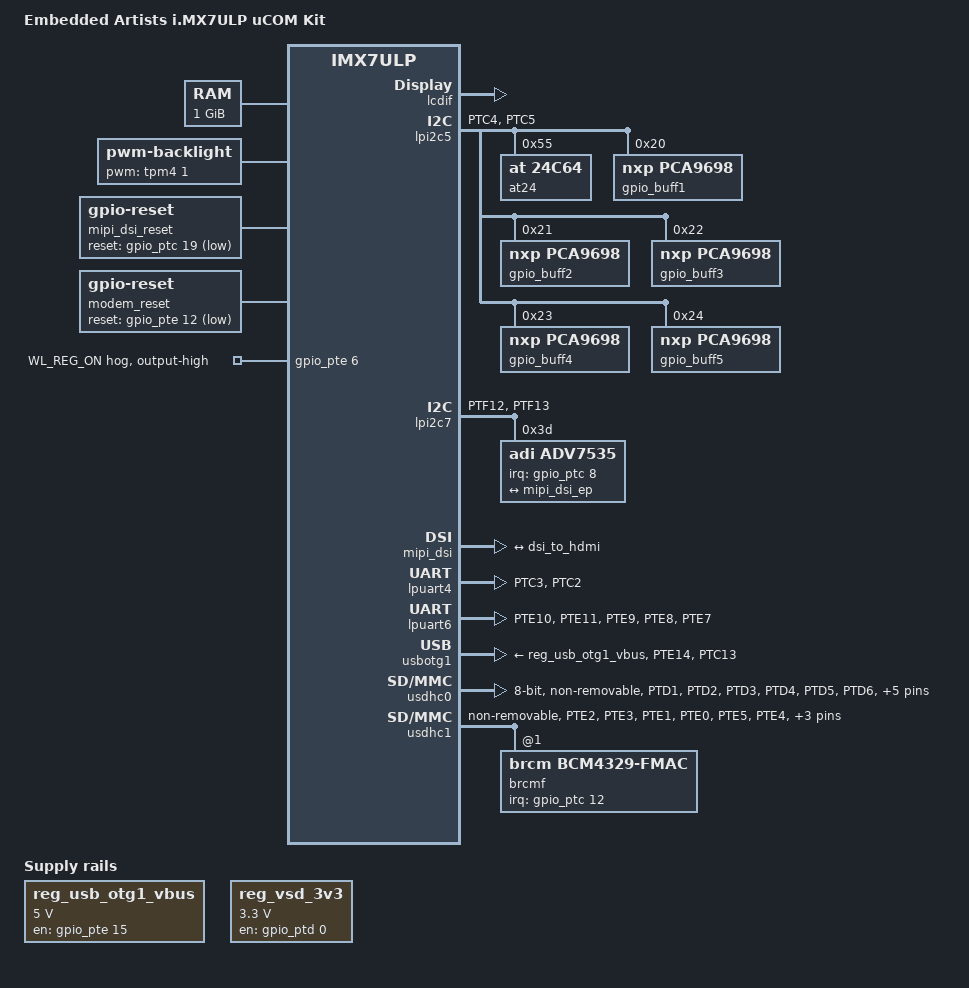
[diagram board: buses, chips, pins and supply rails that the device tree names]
/*
 * Copyright 2016 Freescale Semiconductor, Inc.
 * Copyright 2017-2018 NXP.
 *
 * This program is free software; you can redistribute it and/or modify
 * it under the terms of the GNU General Public License version 2 as
 * published by the Free Software Foundation.
 */

/dts-v1/;

#include "imx7ulp.dtsi"
#include <dt-bindings/input/input.h>

/ {
	model = "Embedded Artists i.MX7ULP uCOM Kit";
	compatible = "fsl,imx7ulpea-ucom", "fsl,imx7ulp", "Generic DT based system";

	aliases {
		/*gpio4 = &rpmsg_gpio0;
		gpio5 = &rpmsg_gpio1;
		pca6416_gpio = &rpmsg_gpio2;*/
	};

	chosen {
		stdout-path = &lpuart4;
	};

	memory {
		device_type = "memory";
		reg = <0x60000000 0x40000000>;
	};

	backlight {
		compatible = "pwm-backlight";
		pwms = <&tpm4 1 50000 0>;
		brightness-levels = <0 20 25 30 35 40 100>;
		default-brightness-level = <6>;
		status = "okay";
	};

	mipi_dsi_reset: mipi-dsi-reset {
		compatible = "gpio-reset";
		reset-gpios = <&gpio_ptc 19 GPIO_ACTIVE_LOW>;
		reset-delay-us = <1000>;
		#reset-cells = <0>;
	};

	modem_reset: modem-reset {
		compatible = "gpio-reset";
		reset-gpios = <&gpio_pte 12 GPIO_ACTIVE_LOW>;
		reset-delay-us = <1000>;
		#reset-cells = <0>;
	};

	regulators {
		compatible = "simple-bus";
		#address-cells = <1>;
		#size-cells = <0>;

		reg_usb_otg1_vbus: regulator@0 {
			compatible = "regulator-fixed";
			reg = <0>;
			pinctrl-names = "default", "sleep";
			pinctrl-0 = <&pinctrl_usbotg1_vbus>;
			pinctrl-1 = <&pinctrl_usbotg1_vbus>;
			regulator-name = "usb_otg1_vbus";
			regulator-min-microvolt = <5000000>;
			regulator-max-microvolt = <5000000>;
			gpio = <&gpio_pte 15 GPIO_ACTIVE_HIGH>;
			enable-active-high;
		};

		reg_vsd_3v3: regulator@1 {
			compatible = "regulator-fixed";
			reg = <1>;
			regulator-name = "VSD_3V3";
			regulator-min-microvolt = <3300000>;
			regulator-max-microvolt = <3300000>;
			gpio = <&gpio_ptd 0 GPIO_ACTIVE_HIGH>;
			off-on-delay = <20000>;
			enable-active-high;
		};

	};
};

&cpu0 {
	fsl,ldo-enabled-mode;
};

&iomuxc1 {
	pinctrl-names = "default";
	pinctrl-0 = <&pinctrl_hog_1>, <&pinctrl_test>;

	imx7ulpea-ucom {
		pinctrl_hog_1: hoggrp-1 {
			fsl,pins = <
                                IMX7ULP_PAD_PTE6__PTE6          0xC6     /* WL_REG_ON */
			>;
		};

		pinctrl_test: testgrp {
			fsl,pins = <
				/* From: new pins */
				IMX7ULP_PAD_PTC0__PTC0			0xC6
				IMX7ULP_PAD_PTC6__PTC6			0xC6
				IMX7ULP_PAD_PTC7__PTC7			0xC6
				IMX7ULP_PAD_PTC11__PTC11		0xC6
				IMX7ULP_PAD_PTC14__PTC14		0xC6
				IMX7ULP_PAD_PTC15__PTC15		0xC6
				IMX7ULP_PAD_PTC16__PTC16		0xC6
				IMX7ULP_PAD_PTC17__PTC17		0xC6
				IMX7ULP_PAD_PTC18__PTC18		0xC6

				IMX7ULP_PAD_PTF0__PTF0			0xC6
				IMX7ULP_PAD_PTF1__PTF1			0xC6
				IMX7ULP_PAD_PTF2__PTF2			0xC6
				IMX7ULP_PAD_PTF3__PTF3			0xC6
				IMX7ULP_PAD_PTF4__PTF4			0xC6
				IMX7ULP_PAD_PTF5__PTF5			0xC6
				IMX7ULP_PAD_PTF6__PTF6			0xC6
				IMX7ULP_PAD_PTF7__PTF7			0xC6
				IMX7ULP_PAD_PTF8__PTF8			0xC6
				IMX7ULP_PAD_PTF9__PTF9			0xC6
				IMX7ULP_PAD_PTF10__PTF10		0xC6
				IMX7ULP_PAD_PTF11__PTF11		0xC6
				IMX7ULP_PAD_PTF14__PTF14		0xC6
				IMX7ULP_PAD_PTF15__PTF15		0xC6
				IMX7ULP_PAD_PTF16__PTF16		0xC6
				IMX7ULP_PAD_PTF17__PTF17		0xC6
				IMX7ULP_PAD_PTF18__PTF18		0xC6
				IMX7ULP_PAD_PTF19__PTF19		0xC6

				/* From: pinctrl_hog_1: hoggrp-1 */
				IMX7ULP_PAD_PTC1__PTC1			0xC6

				/* From: pinctrl_usdhc0: usdhc0grp {
				/*IMX7ULP_PAD_PTC10__PTC10		0xC6	/ * USDHC0 CD */
				/*IMX7ULP_PAD_PTC10__LPSPI2_SCK		0xC6*/

				/* From: pinctrl_exp_conn: expconngrp */
                                                                                /* GPIO_H Not Connected */
                                                                                /* GPIO_J Not Connected */
                                /*IMX7ULP_PAD_PTC8__PTC8                  0xC6       GPIO_K ADV7535 INT (on adapter board) */
				/*IMX7ULP_PAD_PTA24__PTA24		0xC6*/	/* GPIO_P */
                                                                                /* GPIO_Q Not Connected */
                                                                                /* GPIO_R Not Connected */
                                                                                /* GPIO_S Not Connected */
                                                                                /* GPIO_T Not Connected */
                                                                                /* GPIO_U Not Connected */
                                                                                /* GPIO_V Not Connected */
                                                                                /* GPIO_W Not Connected */
                                                                                /* GPIO_X Not Connected */
                                                                                /* GPIO_Y Not Connected */
                                                                                /* GPIO_Z Not Connected */
                                                                                /* GPIO_AA Not Connected */
                                                                                /* GPIO_AB Not Connected */
                                                                                /* GPIO_AC Not Connected */
                                                                                /* GPIO_AD Not Connected */
                                                                                /* GPIO_AE Not Connected */
                                                                                /* GPIO_AF Not Connected */
                                                                                /* GPIO_AG Not Connected */
                                                                                /* GPIO_AH Not Connected */
				                                                /* GPIO_AJ Not Connected */
				/*IMX7ULP_PAD_PTE12__PTE12			0xC6	 GPIO_AK BT_DEV_WAKE */
				/*IMX7ULP_PAD_PTE13__PTE13			0xC6	 GPIO_AL BT_REG_ON */
                                                                                /* GPIO_AP Not Connected */
                                                                                /* GPIO_AQ Not Connected */
                                                                                /* GPIO_AR Not Connected */
                                                                                /* GPIO_AS Not Connected */
                                                                                /* GPIO_AT Not Connected */
                                                                                /* GPIO_AU Not Connected */
                                                                                /* GPIO_AV Not Connected */
			>;
		};

		pinctrl_lpi2c5: lpi2c5grp {
			fsl,pins = <
				IMX7ULP_PAD_PTC4__LPI2C5_SCL	0x27
				IMX7ULP_PAD_PTC5__LPI2C5_SDA	0x27
			>;
		};

		pinctrl_lpi2c7: lpi2c7grp {
			fsl,pins = <
				IMX7ULP_PAD_PTF12__LPI2C7_SCL	0x27
				IMX7ULP_PAD_PTF13__LPI2C7_SDA	0x27
			>;
		};

		pinctrl_mipi_dsi_reset: mipi_dsi_reset_grp {
			fsl,pins = <
				IMX7ULP_PAD_PTC19__PTC19	0x20003
			>;
		};

		pinctrl_lpuart4: lpuart4grp {
			fsl,pins = <
				IMX7ULP_PAD_PTC3__LPUART4_RX	0x3
				IMX7ULP_PAD_PTC2__LPUART4_TX	0x3
			>;
		};

		pinctrl_lpuart6: lpuart6grp {
			fsl,pins = <
				IMX7ULP_PAD_PTE10__LPUART6_TX	0x3
				IMX7ULP_PAD_PTE11__LPUART6_RX	0x3
				IMX7ULP_PAD_PTE9__LPUART6_RTS_B	0x3
				IMX7ULP_PAD_PTE8__LPUART6_CTS_B	0x3
				IMX7ULP_PAD_PTE7__PTE7		0x20000	/* BT_HOST_WAKE */
			>;
		};

		pinctrl_usdhc0: usdhc0grp {
			fsl,pins = <
				IMX7ULP_PAD_PTD1__SDHC0_CMD	0x43
				IMX7ULP_PAD_PTD2__SDHC0_CLK	0x10042
				IMX7ULP_PAD_PTD7__SDHC0_D3	0x43
				IMX7ULP_PAD_PTD8__SDHC0_D2	0x43
				IMX7ULP_PAD_PTD9__SDHC0_D1	0x43
				IMX7ULP_PAD_PTD10__SDHC0_D0	0x43
				IMX7ULP_PAD_PTD0__PTD0		0x20000	/* USDHC0 RST */
			>;
		};

		pinctrl_usdhc0_8bit: usdhc0grp_8bit {
			fsl,pins = <
				IMX7ULP_PAD_PTD1__SDHC0_CMD	0x43
				IMX7ULP_PAD_PTD2__SDHC0_CLK	0x10042
				IMX7ULP_PAD_PTD3__SDHC0_D7	0x43
				IMX7ULP_PAD_PTD4__SDHC0_D6	0x43
				IMX7ULP_PAD_PTD5__SDHC0_D5	0x43
				IMX7ULP_PAD_PTD6__SDHC0_D4	0x43
				IMX7ULP_PAD_PTD7__SDHC0_D3	0x43
				IMX7ULP_PAD_PTD8__SDHC0_D2	0x43
				IMX7ULP_PAD_PTD9__SDHC0_D1	0x43
				IMX7ULP_PAD_PTD10__SDHC0_D0	0x43
				IMX7ULP_PAD_PTD11__SDHC0_DQS	0x42
			>;
		};

                pinctrl_usdhc1: usdhc1grp {
                        fsl,pins = <
				IMX7ULP_PAD_PTE2__SDHC1_CLK	0x10042
				IMX7ULP_PAD_PTE3__SDHC1_CMD	0x43
				IMX7ULP_PAD_PTE1__SDHC1_D0	0x43
				IMX7ULP_PAD_PTE0__SDHC1_D1	0x43
				IMX7ULP_PAD_PTE5__SDHC1_D2	0x43
				IMX7ULP_PAD_PTE4__SDHC1_D3	0x43
                        >;
                };

                pinctrl_usdhc1_100mhz: usdhc1grp100mhz {
                        fsl,pins = <
				IMX7ULP_PAD_PTE2__SDHC1_CLK	0x10042
				IMX7ULP_PAD_PTE3__SDHC1_CMD	0x43
				IMX7ULP_PAD_PTE1__SDHC1_D0	0x43
				IMX7ULP_PAD_PTE0__SDHC1_D1	0x43
				IMX7ULP_PAD_PTE5__SDHC1_D2	0x43
				IMX7ULP_PAD_PTE4__SDHC1_D3	0x43
                        >;
                };

                pinctrl_usdhc1_200mhz: usdhc1grp200mhz {
                        fsl,pins = <
				IMX7ULP_PAD_PTE2__SDHC1_CLK	0x10042
				IMX7ULP_PAD_PTE3__SDHC1_CMD	0x43
				IMX7ULP_PAD_PTE1__SDHC1_D0	0x43
				IMX7ULP_PAD_PTE0__SDHC1_D1	0x43
				IMX7ULP_PAD_PTE5__SDHC1_D2	0x43
				IMX7ULP_PAD_PTE4__SDHC1_D3	0x43
                        >;
                };

		pinctrl_usdhc1_gpio: usdhc1grp_gpio {
			fsl,pins = <
				IMX7ULP_PAD_PTE13__PTE13	0x10003	/* BT_REG_ON */
				IMX7ULP_PAD_PTE12__PTE12	0x10003	/* BT_DEV_WAKE */
				IMX7ULP_PAD_PTC12__PTC12        0x43    /* WL_HOST_WAKE */
			>;
		};

		pinctrl_usbotg1_vbus: otg1vbusgrp {
			fsl,pins = <
				IMX7ULP_PAD_PTE15__PTE15	0x20000
			>;
		};

		pinctrl_usbotg1_id: otg1idgrp {
			fsl,pins = <
				IMX7ULP_PAD_PTE14__USB0_OC	0x10003
				IMX7ULP_PAD_PTC13__USB0_ID	0x10003
			>;
		};

		pinctrl_dsi_hdmi: dsi_hdmi_grp {
			fsl,pins = <
				IMX7ULP_PAD_PTC8__PTC8		0x10003	/* DSI_HDMI_INT */
			>;
		};

                pinctrl_pwm1: pwm1grp {
                        fsl,pins = <
                                IMX7ULP_PAD_PTC9__PTC9			0x06
                        >;
                };
	};
};

&lcdif {
	status = "okay";
	disp-dev = "mipi_dsi_northwest";
	display = <&display0>;

	display0: display@0 {
		bits-per-pixel = <16>;
		bus-width = <24>;

		display-timings {
			native-mode = <&timing0>;
			timing0: timing0 {
			clock-frequency = <9200000>;
			hactive = <480>;
			vactive = <272>;
			hfront-porch = <8>;
			hback-porch = <4>;
			hsync-len = <41>;
			vback-porch = <2>;
			vfront-porch = <4>;
			vsync-len = <10>;

			hsync-active = <0>;
			vsync-active = <0>;
			de-active = <1>;
			pixelclk-active = <0>;
			};
		};
	};
};


/* I2C-A */
&lpi2c5 {
	#address-cells = <1>;
	#size-cells = <0>;
	pinctrl-names = "default", "sleep";
	pinctrl-0 = <&pinctrl_lpi2c5>;
	pinctrl-1 = <&pinctrl_lpi2c5>;
	status = "okay";

        at24@55 {
                compatible = "at,24c64";
                pagesize = <32>;
                reg = <0x55>;
        };

        gpio_buff1: pca9698@20 {
                compatible = "nxp,pca9698";
                reg = <0x20>;
                gpio-controller;
                #gpio-cells = <2>;
        };
        gpio_buff2: pca9698@21 {
                compatible = "nxp,pca9698";
                reg = <0x21>;
                gpio-controller;
                #gpio-cells = <2>;
        };
        gpio_buff3: pca9698@22 {
                compatible = "nxp,pca9698";
                reg = <0x22>;
                gpio-controller;
                #gpio-cells = <2>;
        };
        gpio_buff4: pca9698@23 {
                compatible = "nxp,pca9698";
                reg = <0x23>;
                gpio-controller;
                #gpio-cells = <2>;
        };
        gpio_buff5: pca9698@24 {
                compatible = "nxp,pca9698";
                reg = <0x24>;
                gpio-controller;
                #gpio-cells = <2>;
        };
};

/* I2C-D */
&lpi2c7 {
	#address-cells = <1>;
	#size-cells = <0>;
	pinctrl-names = "default", "sleep";
	pinctrl-0 = <&pinctrl_lpi2c7>;
	pinctrl-1 = <&pinctrl_lpi2c7>;
	status = "okay";

	adv7535: adv7535@3d {
		compatible = "adi,adv7535";
		reg = <0x3d>; /* PD pin is high */
		pinctrl-names = "default";
		pinctrl-0 = <&pinctrl_dsi_hdmi>;
		interrupt-parent = <&gpio_ptc>;
		interrupts = <8 IRQ_TYPE_EDGE_FALLING>;
		video-mode = <1>; /*
				   * Only support CEA modes.
				   * Reference mxc_edid.c
				   */
		dsi-traffic-mode = <0>;
		bpp = <24>;
	};

};

&adv7535 {
	status = "okay";

	port {
		dsi_to_hdmi: endpoint {
			remote-endpoint = <&mipi_dsi_ep>;
		};
	};
};


&mipi_dsi {
	status = "okay";

	port {
		mipi_dsi_ep: endpoint {
			remote-endpoint = <&dsi_to_hdmi>;
		};
	};
};

&lpuart4 { /* console */
	pinctrl-names = "default", "sleep";
	pinctrl-0 = <&pinctrl_lpuart4>;
	pinctrl-1 = <&pinctrl_lpuart4>;
	status = "okay";
};

&lpuart6 {
	pinctrl-names = "default", "sleep";
	pinctrl-0 = <&pinctrl_lpuart6>;
	pinctrl-1 = <&pinctrl_lpuart6>;
	status = "okay";

	fsl,uart-has-rtscts;
	resets = <&modem_reset>;
};

&usbotg1 {
	vbus-supply = <&reg_usb_otg1_vbus>;
	pinctrl-names = "default", "sleep";
	pinctrl-0 = <&pinctrl_usbotg1_id>;
	pinctrl-1 = <&pinctrl_usbotg1_id>;
	srp-disable;
	hnp-disable;
	adp-disable;
	status = "okay";
};

&usbphy1 {
	fsl,tx-d-cal = <88>;
};

/* eMMC */
&usdhc0 {
	pinctrl-names = "default", "state_100mhz", "state_200mhz", "sleep";
	pinctrl-0 = <&pinctrl_usdhc0_8bit>;
	pinctrl-1 = <&pinctrl_usdhc0_8bit>;
	pinctrl-2 = <&pinctrl_usdhc0_8bit>;
	pinctrl-3 = <&pinctrl_usdhc0_8bit>;
	non-removable;
	bus-width = <8>;
	status = "okay";
};

/* M.2 connector */
&usdhc1 {
        #address-cells = <1>;
        #size-cells = <0>;
        pinctrl-names = "default", "state_100mhz", "state_200mhz";
        pinctrl-0 = <&pinctrl_usdhc1>, <&pinctrl_usdhc1_gpio>;
        pinctrl-1 = <&pinctrl_usdhc1_100mhz>, <&pinctrl_usdhc1_gpio>;
        pinctrl-2 = <&pinctrl_usdhc1_200mhz>, <&pinctrl_usdhc1_gpio>;

        keep-power-in-suspend;
        non-removable;
        cd-broken;
        pm-ignore-notify;
        wifi-host;

        /*mmc-pwrseq = <&usdhc1_pwrseq>;*/
        status = "okay";

        brcmf: bcrmf@1 {
                reg = <1>;
                compatible = "brcm,bcm4329-fmac";
                interrupt-parent = <&gpio_ptc>;
                interrupts = <12 IRQ_TYPE_LEVEL_LOW>;  /* WL_HOST_WAKE = PTC12 active low for M.2. */
                interrupt-names = "host-wake";
        };
};

&gpio_pte {
	wl_reg_on_gpio {
		gpio-hog;
		gpios = <6 GPIO_ACTIVE_HIGH>;
		output-high;
		line-name = "WL_REG_ON";
	};
};
